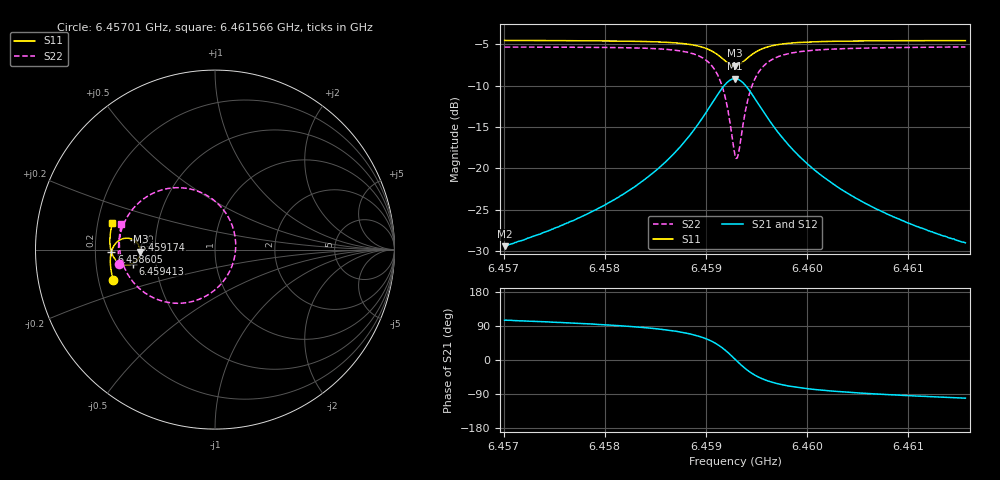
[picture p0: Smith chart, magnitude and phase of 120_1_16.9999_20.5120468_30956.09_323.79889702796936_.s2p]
#  HZ  S  RI  R  50.00
! Rohde & Schwarz Vector Network Analyzer
! Rohde-Schwarz,ZNB20-2Port,1311601062101988,3.16
! Created: UTC 3/20/2024, 10:57:24 PM
! freq[Hz]  re:S11  im:S11  re:S21  im:S21  re:S12  im:S12  re:S22  im:S22
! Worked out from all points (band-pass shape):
!   401 points, 6.45701 GHz to 6.461566 GHz, reference 50 ohm
!   highest |S21| = -9.16 dB at 6.459288 GHz (marker M1); lowest = -29.4 dB at 6.45701 GHz (marker M2)
!   |S21| within 3 dB of the highest: 6.45906 GHz to 6.459516 GHz (455.9 kHz wide, 0.00706 % of centre)
!   lowest |S11| = -7.6 dB at 6.459288 GHz (marker M3), VSWR 2.43, Z = 20.6 - j0.557 ohm
!   |S11| at or under -10 dB: nowhere
!   |S22| runs from -18.8 to -5.3 dB; largest |S21 - S12| = 0.014
!   S11 on the Smith chart (normalised r, x): 6.45701 GHz: 0.26, -0.14; 6.458605 GHz: 0.27, -0.01; 6.459174 GHz: 0.38, +0.05; 6.459413 GHz: 0.37, -0.07; 6.461566 GHz: 0.26, +0.12
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6.4570102e9  -0.5669 -0.1709  -0.00881 0.0327  -0.00715 0.0327  -0.5336 -0.0814
6.4577732e9  -0.5807 -0.104  -0.00544 0.0509  -0.00293 0.0502  -0.5384 0.00847
6.4581946e9  -0.5834 -0.0616  0.000612 0.0704  0.00386 0.0692  -0.5299 0.0757
6.4585362e9  -0.5795 -0.0205  0.0145 0.0996  0.0185 0.0968  -0.504 0.1534
6.4586046e9  -0.5772 -0.0109  0.02 0.108  0.0241 0.1049  -0.4939 0.1733
6.4587982e9  -0.5645 0.0196  0.0467 0.1392  0.0508 0.1343  -0.4435 0.2427
6.4589462e9  -0.5415 0.046  0.0927 0.1699  0.0959 0.1632  -0.3591 0.3069
6.4590829e9  -0.4972 0.0635  0.1808 0.1863  0.1817 0.179  -0.1983 0.345
6.459174e9  -0.4521 0.0529  0.2713 0.1544  0.2715 0.1485  -0.0311 0.293
6.4592423e9  -0.4228 0.0203  0.332 0.0817  0.3342 0.0764  0.0839 0.1619
6.4592879e9  -0.4159 -0.0112  0.3481 0.0132  0.3519 0.00623  0.1154 0.0338
6.4592993e9  -0.4164 -0.0193  0.3478 -0.00474  0.3517 -0.0125  0.1148 -0.00012
6.459322e9  -0.4199 -0.0351  0.3421 -0.0398  0.3461 -0.0488  0.1032 -0.066
6.4593676e9  -0.4357 -0.0613  0.313 -0.0998  0.3153 -0.1117  0.0444 -0.1791
6.4594131e9  -0.4581 -0.0779  0.2706 -0.141  0.2698 -0.1542  -0.0415 -0.2537
6.4595042e9  -0.5018 -0.0848  0.1852 -0.172  0.1792 -0.1835  -0.2113 -0.2991
6.4596523e9  -0.546 -0.0645  0.0969 -0.1579  0.0883 -0.1641  -0.3791 -0.2487
6.4598117e9  -0.568 -0.0368  0.0518 -0.1297  0.0441 -0.1324  -0.4595 -0.1762
6.4600509e9  -0.5808 -0.00133  0.0224 -0.0979  0.0166 -0.0985  -0.5075 -0.0936
6.4604039e9  -0.5854 0.0408  0.00601 -0.0703  0.00192 -0.0699  -0.5292 -0.0122
6.4608139e9  -0.5837 0.0821  -0.00143 -0.0522  -0.0042 -0.0514  -0.5331 0.0538
6.4615655e9  -0.572 0.1488  -0.00661 -0.0349  -0.00817 -0.0339  -0.5218 0.1429
